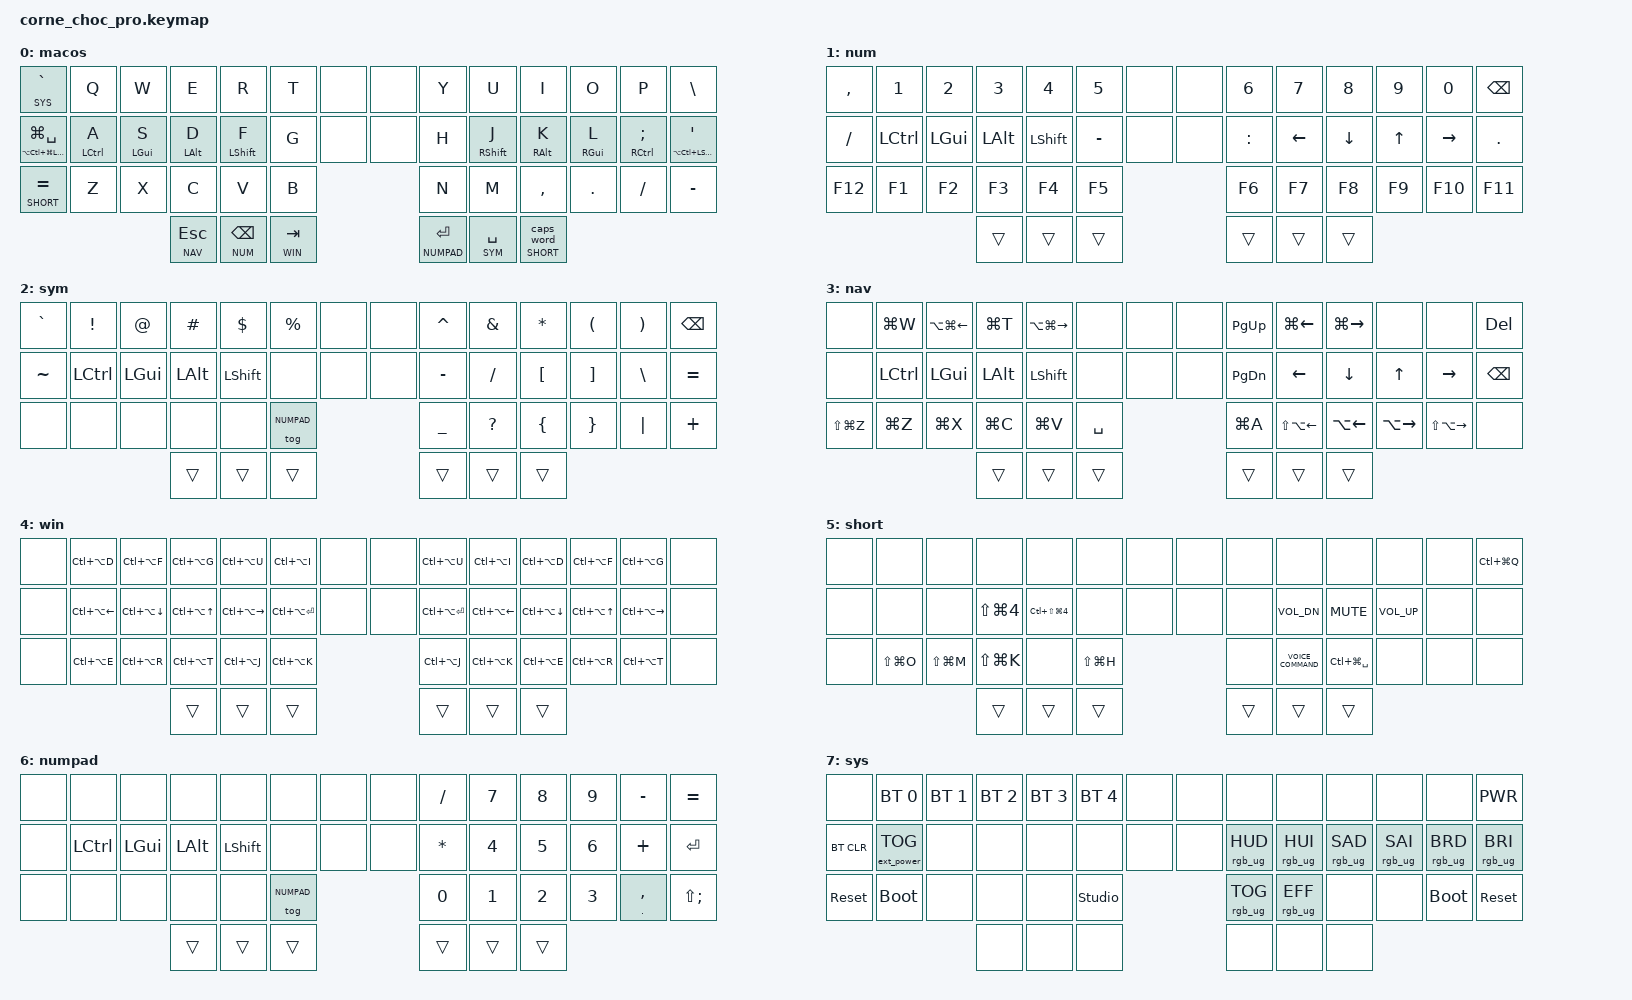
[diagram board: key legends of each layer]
/*
 * Copyright (c) 2020 The ZMK Contributors
 *
 * SPDX-License-Identifier: MIT
 */

#include <behaviors.dtsi>
#include <dt-bindings/zmk/keys.h>
#include <dt-bindings/zmk/bt.h>
#include <dt-bindings/zmk/rgb.h>
#include <dt-bindings/zmk/ext_power.h>

#define MACOS 0
#define NUM 1
#define SYM 2
#define NAV 3
#define WIN 4
#define SHORT 5
#define NUMPAD 6
#define SYS 7

#define LEFT_KEYS 0 1 2 3 4 5 14 15 16 17 18 19 28 29 30 31 32 33
#define RIGHT_KEYS 8 9 10 11 12 13 22 23 24 25 26 27 34 35 36 37 38 39
#define THUMBS 40 41 42 43 44 45

/ {
    chosen {
        zmk,physical-layout = &default_layout;
    };
};

/ {
    behaviors {
        hml: home_row_mod_left {
            compatible = "zmk,behavior-hold-tap";
            #binding-cells = <2>;
            flavor = "balanced";
            tapping-term-ms = <280>;
            quick-tap-ms = <200>;
            bindings = <&kp>, <&kp>;
            hold-trigger-key-positions = <RIGHT_KEYS THUMBS>;
            hold-trigger-on-release;
            display-name = "Home-Row-Mod-Left";
        };

        hmr: home_row_mod_right {
            compatible = "zmk,behavior-hold-tap";
            #binding-cells = <2>;
            flavor = "balanced";
            tapping-term-ms = <280>;
            quick-tap-ms = <200>;
            bindings = <&kp>, <&kp>;
            hold-trigger-key-positions = <LEFT_KEYS THUMBS>;
            hold-trigger-on-release;
            display-name = "Home-Row-Mod-Right";
        };

        rlt: repeatable_layer_tap {
            compatible = "zmk,behavior-hold-tap";
            #binding-cells = <2>;
            flavor = "tap-preferred";
            tapping-term-ms = <200>;
            quick-tap-ms = <250>;
            bindings = <&mo>, <&kp>;
            display-name = "Repeatable-Layer-Tap";
        };

        lcw: layer_caps_word {
            compatible = "zmk,behavior-hold-tap";
            #binding-cells = <2>;
            flavor = "hold-preferred";
            tapping-term-ms = <200>;
            bindings = <&mo>, <&caps_word>;
            display-name = "Layer-Caps-Word";
        };

        hlt: hold_layer_tap {
            compatible = "zmk,behavior-hold-tap";
            #binding-cells = <2>;
            flavor = "hold-preferred";
            tapping-term-ms = <200>;
            bindings = <&mo>, <&kp>;
            display-name = "Hold-Layer-Tap";
        };

        rhlt: repeatable_hold_layer_tap {
            compatible = "zmk,behavior-hold-tap";
            #binding-cells = <2>;
            flavor = "hold-preferred";
            tapping-term-ms = <200>;
            quick-tap-ms = <250>;
            bindings = <&mo>, <&kp>;
            display-name = "Repeatable-Hold-Layer-Tap";
        };
    };
};

/ {
    keymap {
        compatible = "zmk,keymap";

        macos_layer {
            display-name = "macos";
            bindings = <
                &hlt SYS GRAVE                   &kp Q         &kp W        &kp E         &kp R          &kp T          &none  &none  &kp Y            &kp U           &kp I         &kp O        &kp P            &kp BSLH
                &mt LA(LC(LG(LSHFT))) LG(SPACE)  &hml LCTRL A  &hml LGUI S  &hml LALT D   &hml LSHFT F   &kp G          &none  &none  &kp H            &hmr RSHFT J    &hmr RALT K   &hmr RGUI L  &hmr RCTRL SEMI  &mt LA(LC(LSHFT)) SQT
                &lt SHORT EQUAL                  &kp Z         &kp X        &kp C         &kp V          &kp B                        &kp N            &kp M           &kp COMMA     &kp DOT      &kp FSLH         &kp MINUS
                                                                            &hlt NAV ESC  &hlt NUM BSPC  &rhlt WIN TAB                &rlt NUMPAD RET  &hlt SYM SPACE  &lcw SHORT 0
            >;
        };

        num_layer {
            display-name = "num";
            bindings = <
                &kp COMMA  &kp N1     &kp N2    &kp N3    &kp N4     &kp N5     &none  &none  &kp N6     &kp N7    &kp N8    &kp N9  &kp N0     &kp BSPC
                &kp FSLH   &kp LCTRL  &kp LGUI  &kp LALT  &kp LSHFT  &kp MINUS  &none  &none  &kp COLON  &kp LEFT  &kp DOWN  &kp UP  &kp RIGHT  &kp DOT
                &kp F12    &kp F1     &kp F2    &kp F3    &kp F4     &kp F5                   &kp F6     &kp F7    &kp F8    &kp F9  &kp F10    &kp F11
                                                &trans    &trans     &trans                   &trans     &trans    &trans
            >;
        };

        sym_layer {
            display-name = "sym";
            bindings = <
                &kp GRAVE  &kp EXCL   &kp AT    &kp HASH  &kp DLLR   &kp PRCNT    &none  &none  &kp CARET  &kp AMPS   &kp ASTRK  &kp LPAR  &kp RPAR  &kp BSPC
                &kp TILDE  &kp LCTRL  &kp LGUI  &kp LALT  &kp LSHFT  &none        &none  &none  &kp MINUS  &kp FSLH   &kp LBKT   &kp RBKT  &kp BSLH  &kp EQUAL
                &none      &none      &none     &none     &none      &tog NUMPAD                &kp UNDER  &kp QMARK  &kp LBRC   &kp RBRC  &kp PIPE  &kp PLUS
                                                &trans    &trans     &trans                     &trans     &trans     &trans
            >;
        };

        nav_layer {
            display-name = "nav";
            bindings = <
                &none          &kp LG(W)  &kp LA(LG(LEFT))  &kp LG(T)  &kp LA(LG(RIGHT))  &none      &none  &none  &kp PG_UP  &kp LG(LEFT)      &kp LG(RIGHT)  &none          &none              &kp DEL
                &none          &kp LCTRL  &kp LGUI          &kp LALT   &kp LSHFT          &none      &none  &none  &kp PG_DN  &kp LEFT          &kp DOWN       &kp UP         &kp RIGHT          &kp BSPC
                &kp LS(LG(Z))  &kp LG(Z)  &kp LG(X)         &kp LG(C)  &kp LG(V)          &kp SPACE                &kp LG(A)  &kp LS(LA(LEFT))  &kp LA(LEFT)   &kp LA(RIGHT)  &kp LS(LA(RIGHT))  &none
                                                            &trans     &trans             &trans                   &trans     &trans            &trans
            >;
        };

        win_layer {
            display-name = "win";
            bindings = <
                &none  &kp LC(LA(D))     &kp LC(LA(F))     &kp LC(LA(G))   &kp LC(LA(U))      &kp LC(LA(I))    &none  &none  &kp LC(LA(U))    &kp LC(LA(I))     &kp LC(LA(D))     &kp LC(LA(F))   &kp LC(LA(G))      &none
                &none  &kp LC(LA(LEFT))  &kp LC(LA(DOWN))  &kp LC(LA(UP))  &kp LC(LA(RIGHT))  &kp LC(LA(RET))  &none  &none  &kp LC(LA(RET))  &kp LC(LA(LEFT))  &kp LC(LA(DOWN))  &kp LC(LA(UP))  &kp LC(LA(RIGHT))  &none
                &none  &kp LC(LA(E))     &kp LC(LA(R))     &kp LC(LA(T))   &kp LC(LA(J))      &kp LC(LA(K))                  &kp LC(LA(J))    &kp LC(LA(K))     &kp LC(LA(E))     &kp LC(LA(R))   &kp LC(LA(T))      &none
                                                           &trans          &trans             &trans                         &trans           &trans            &trans
            >;
        };

        short_layer {
            display-name = "short";
            bindings = <
                &none  &none          &none          &none           &none               &none          &none  &none  &none   &none                &none              &none         &none  &kp LC(LG(Q))
                &none  &none          &none          &kp LS(LG(N4))  &kp LC(LS(LG(N4)))  &none          &none  &none  &none   &kp C_VOL_DN         &kp C_MUTE         &kp C_VOL_UP  &none  &none
                &none  &kp LS(LG(O))  &kp LS(LG(M))  &kp LS(LG(K))   &none               &kp LS(LG(H))                &none   &kp C_VOICE_COMMAND  &kp LC(LG(SPACE))  &none         &none  &none
                                                     &trans          &trans              &trans                       &trans  &trans               &trans
            >;
        };

        numpad_layer {
            display-name = "numpad";
            bindings = <
                &none  &none      &none     &none     &none      &none        &none  &none  &kp FSLH   &kp N7  &kp N8  &kp N9  &kp MINUS      &kp EQUAL
                &none  &kp LCTRL  &kp LGUI  &kp LALT  &kp LSHFT  &none        &none  &none  &kp ASTRK  &kp N4  &kp N5  &kp N6  &kp PLUS       &kp RET
                &none  &none      &none     &none     &none      &tog NUMPAD                &kp N0     &kp N1  &kp N2  &kp N3  &mt DOT COMMA  &kp LS(SEMI)
                                            &trans    &trans     &trans                     &trans     &trans  &trans
            >;
        };

        sys_layer {
            display-name = "sys";
            bindings = <
                &none       &bt BT_SEL 0       &bt BT_SEL 1  &bt BT_SEL 2  &bt BT_SEL 3  &bt BT_SEL 4    &none  &none  &none            &none            &none            &none            &none            &kp C_PWR
                &bt BT_CLR  &ext_power EP_TOG  &none         &none         &none         &none           &none  &none  &rgb_ug RGB_HUD  &rgb_ug RGB_HUI  &rgb_ug RGB_SAD  &rgb_ug RGB_SAI  &rgb_ug RGB_BRD  &rgb_ug RGB_BRI
                &sys_reset  &bootloader        &none         &none         &none         &studio_unlock                &rgb_ug RGB_TOG  &rgb_ug RGB_EFF  &none            &none            &bootloader      &sys_reset
                                                             &none         &none         &none                         &none            &none            &none
            >;
        };
    };
};
